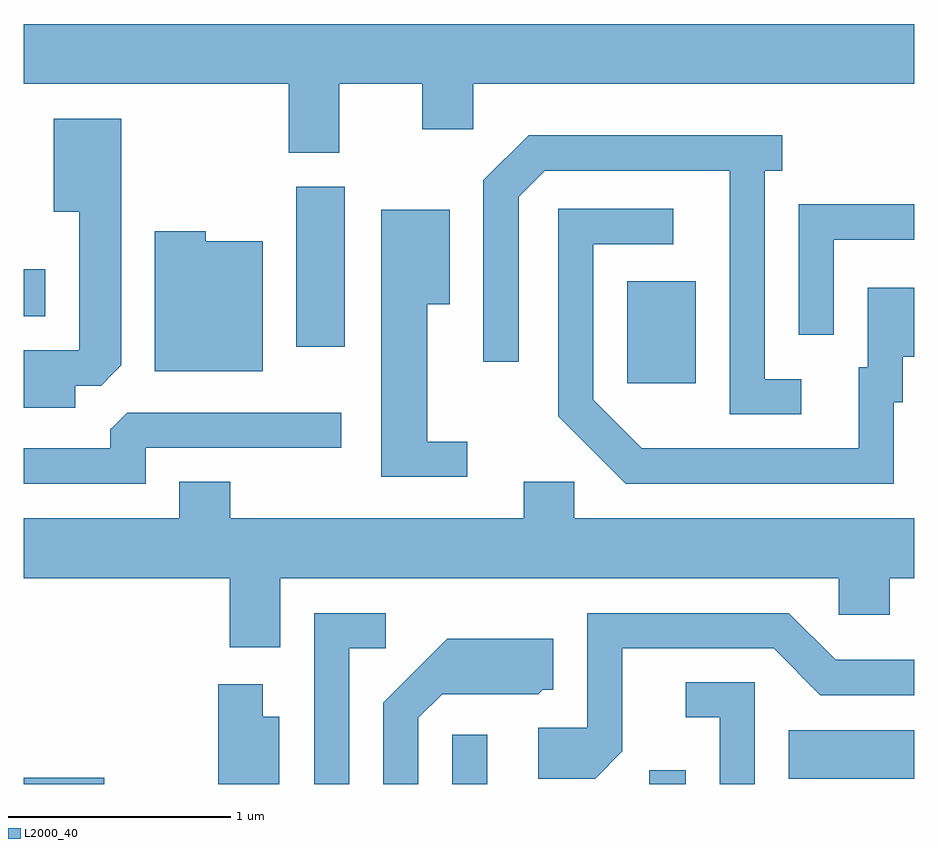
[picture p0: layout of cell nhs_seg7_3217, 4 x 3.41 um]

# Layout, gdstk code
import gdstk
lib = gdstk.Library(unit=1e-6, precision=1e-09)
def R(c, l, rs):  # rectangles x0, y0, x1, y1
    for r in rs: c.add(gdstk.rectangle(r[:2], r[2:], *l))
def P(c, l, *ps):  # polygons
    for p in ps: c.add(gdstk.Polygon(p, *l))
L2000_40 = (2000, 40)

nhs_seg7_3217 = lib.new_cell('nhs_seg7_3217')
R(nhs_seg7_3217, L2000_40, [(283.611,1742.252,283.974,1742.279), (285.536,1742.252,285.694,1742.473), (286.421,1742.252,286.584,1742.313), (287.046,1742.276,287.611,1742.494), (286.321,1744.051,286.629,1744.509), (284.836,1744.216,285.054,1744.934), (283.611,1744.351,283.709,1744.564)])
P(nhs_seg7_3217, L2000_40, [(285.029,1745.396),(285.401,1745.396),(285.401,1745.191),(285.629,1745.191),(285.629,1745.396),(287.611,1745.396),(287.611,1745.664),(283.611,1745.664),(283.611,1745.396),(284.801,1745.396),(284.801,1745.086),(285.029,1745.086)],
  [(283.844,1744.041),(283.959,1744.041),(284.013,1744.095),(284.049,1744.132),(284.049,1745.239),(283.746,1745.239),(283.746,1744.821),(283.861,1744.821),(283.861,1744.199),(283.611,1744.199),(283.611,1743.941),(283.844,1743.941)],
  [(287.103,1744.069),(286.939,1744.069),(286.939,1745.006),(287.018,1745.006),(287.018,1745.164),(285.879,1745.164),(285.676,1744.962),(285.676,1744.148),(285.834,1744.148),(285.834,1744.889),(285.952,1745.006),(286.781,1745.006),(286.781,1743.911),(287.103,1743.911)],
  [(287.249,1744.696),(287.611,1744.696),(287.611,1744.854),(287.091,1744.854),(287.091,1744.268),(287.249,1744.268)],
  [(287.519,1743.966),(287.559,1743.966),(287.559,1744.171),(287.611,1744.171),(287.611,1744.479),(287.401,1744.479),(287.401,1744.124),(287.361,1744.124),(287.361,1743.759),(286.387,1743.759),(286.169,1743.977),(286.169,1744.676),(286.528,1744.676),(286.528,1744.834),(286.011,1744.834),(286.011,1743.904),(286.314,1743.601),(287.519,1743.601)],
  [(285.603,1743.789),(285.424,1743.789),(285.424,1744.406),(285.524,1744.406),(285.524,1744.829),(285.216,1744.829),(285.216,1743.631),(285.603,1743.631)],
  [(284.684,1744.689),(284.429,1744.689),(284.429,1744.734),(284.201,1744.734),(284.201,1744.106),(284.684,1744.106)],
  [(284.159,1743.761),(285.038,1743.761),(285.038,1743.919),(284.077,1743.919),(284.013,1743.855),(284.001,1743.844),(284.001,1743.759),(283.611,1743.759),(283.611,1743.601),(284.159,1743.601)],
  [(284.764,1743.176),(287.271,1743.176),(287.271,1743.011),(287.499,1743.011),(287.499,1743.176),(287.611,1743.176),(287.611,1743.444),(286.084,1743.444),(286.084,1743.609),(285.856,1743.609),(285.856,1743.444),(284.539,1743.444),(284.539,1743.609),(284.311,1743.609),(284.311,1743.444),(283.611,1743.444),(283.611,1743.176),(284.536,1743.176),(284.536,1742.866),(284.764,1742.866)],
  [(286.299,1742.399),(286.299,1742.861),(286.979,1742.861),(287.189,1742.651),(287.611,1742.651),(287.611,1742.809),(287.257,1742.809),(287.047,1743.019),(286.141,1743.019),(286.141,1742.504),(285.921,1742.504),(285.921,1742.276),(286.177,1742.276)],
  [(285.074,1742.861),(285.238,1742.861),(285.238,1743.019),(284.916,1743.019),(284.916,1742.252),(285.074,1742.252)],
  [(285.384,1742.549),(285.492,1742.656),(285.922,1742.656),(285.942,1742.676),(285.989,1742.676),(285.989,1742.904),(285.514,1742.904),(285.226,1742.617),(285.226,1742.252),(285.384,1742.252)],
  [(286.894,1742.709),(286.583,1742.709),(286.583,1742.551),(286.736,1742.551),(286.736,1742.252),(286.894,1742.252)],
  [(284.759,1742.554),(284.684,1742.554),(284.684,1742.699),(284.486,1742.699),(284.486,1742.252),(284.759,1742.252)])

lib.write_gds('nhs_seg7_3217.gds')
